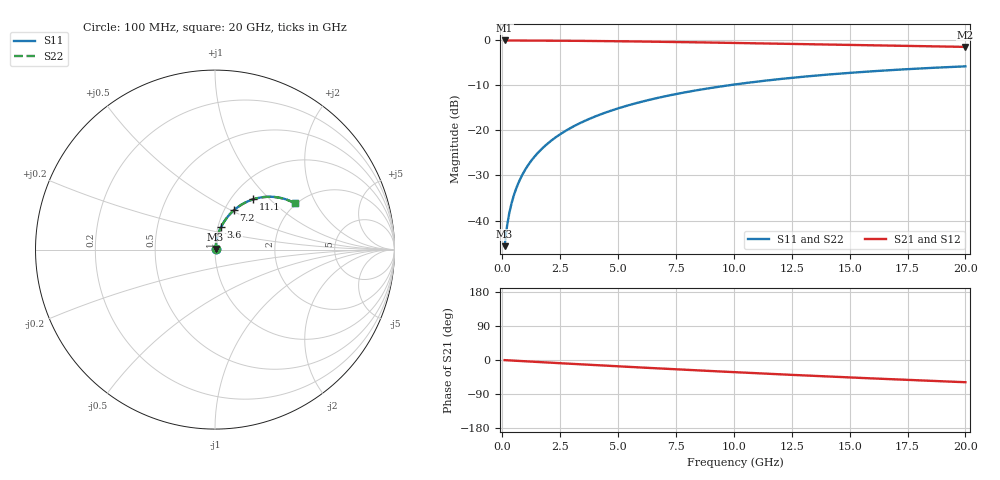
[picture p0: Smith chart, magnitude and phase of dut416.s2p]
! Touchstone file exported from HFSS 2026.1.0
!  File:  C:/ffzhzh/LocalFiles/Ansys_Project_Files/temp_train_TMRDL_416_1783005187_46388.aedt
!  Generated:  11:14:44 PM Jul  2, 2026
!  Design:  TMRDL
!  Project:  temp_train_TMRDL_416_1783005187_46388
! Variables:
!  h_bsmrdl = 2um
!  h_ox = 20um
!  h_rdl = 5um
!  h_sub = 80um
!  h_tmrdl = 4.46um
!  h_tsv = 80um
!  h_via = 3um
!  l_bsmrdl = 300um
!  l_sub = 1298.65um
!  l_tmrdl = 898.65um
!  m_sub = 200um
!  pitch = 55.95um
!  r_tsv = 6um
!  s_tmrdl = 10um
!  w_bsmrdl = 18um
!  w_sub = 500um
!  w_tmrdl = 22.13um
!  x_tsv_center1 = 909.715um
!  x_tsv_center2 = 1227.715um
!  x_tsv_center3 = 2148.495um
!  x_tsv_center4 = 2466.495um
!  x_tsv_center5 = 3387.275um
!  x_tsv_center6 = 3705.275um
# GHz S MA R 50.000000
! Terminal data exported
! Port[1] = TM_RDL1_1_T1
! Port[2] = TM_RDL1_1_T2
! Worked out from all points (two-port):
!   200 points, 100 MHz to 20 GHz, reference 50 ohm
!   highest |S21| = -0.03 dB at 100 MHz (marker M1); lowest = -1.5 dB at 20 GHz (marker M2)
!   |S21| within 3 dB of the highest: start of sweep to end of sweep
!   lowest |S11| = -45.7 dB at 100 MHz (marker M3), VSWR 1.01, Z = 50.3 + j0.394 ohm
!   |S11| at or under -10 dB: start of sweep to 9.757 GHz
!   |S22| runs from -45.7 to -5.8 dB; largest |S21 - S12| = 4.2e-15
!   S11 on the Smith chart (normalised r, x): 100 MHz: 1.01, +0.01; 3.6 GHz: 1.03, +0.26; 7.2 GHz: 1.11, +0.52; 11.1 GHz: 1.25, +0.80; 20 GHz: 1.96, +1.38
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0.1  0.005192 48.9  0.9966 -0.4  0.9966 -0.4  0.005192 48.9
! Gamma 0 0 0 0
! Port Impedance 50 0 50 0
0.2  0.008524 64.4  0.9964 -0.7  0.9964 -0.7  0.008524 64.4
0.3  0.01202 70.7  0.9962 -1.0  0.9962 -1.0  0.01202 70.7
0.4  0.01555 74.1  0.996 -1.4  0.996 -1.4  0.01555 74.1
0.5  0.0191 76.2  0.9958 -1.7  0.9958 -1.7  0.0191 76.2
0.7  0.02624 78.5  0.9955 -2.4  0.9955 -2.4  0.02624 78.5
1  0.03703 79.9  0.995 -3.4  0.995 -3.4  0.03703 79.9
1.4  0.05144 80.2  0.9942 -4.8  0.9942 -4.8  0.05144 80.2
1.7  0.06222 79.9  0.9933 -5.8  0.9933 -5.8  0.06222 79.9
2  0.07294 79.3  0.9924 -6.8  0.9924 -6.8  0.07294 79.3
2.7  0.09772 77.6  0.9897 -9.1  0.9897 -9.1  0.09772 77.6
3.5  0.1255 75.4  0.9858 -11.8  0.9858 -11.8  0.1255 75.4
3.6  0.1289 75.1  0.9853 -12.1  0.9853 -12.1  0.1289 75.1
5  0.1756 70.9  0.9768 -16.7  0.9768 -16.7  0.1756 70.8
6.8  0.2323 65.4  0.9636 -22.4  0.9636 -22.4  0.2323 65.4
7.2  0.2443 64.2  0.9604 -23.6  0.9604 -23.6  0.2443 64.2
8.6  0.2848 60.1  0.9485 -27.9  0.9485 -27.9  0.2848 60.1
10.1  0.3252 55.8  0.9349 -32.3  0.9349 -32.3  0.3252 55.8
11.1  0.3504 53.0  0.9255 -35.2  0.9255 -35.2  0.3504 52.9
13.4  0.403 46.7  0.9036 -41.7  0.9036 -41.7  0.403 46.6
16.7  0.4657 38.2  0.8729 -50.4  0.8729 -50.4  0.4657 38.1
20  0.5143 30.2  0.8456 -58.6  0.8456 -58.6  0.5143 30.1
